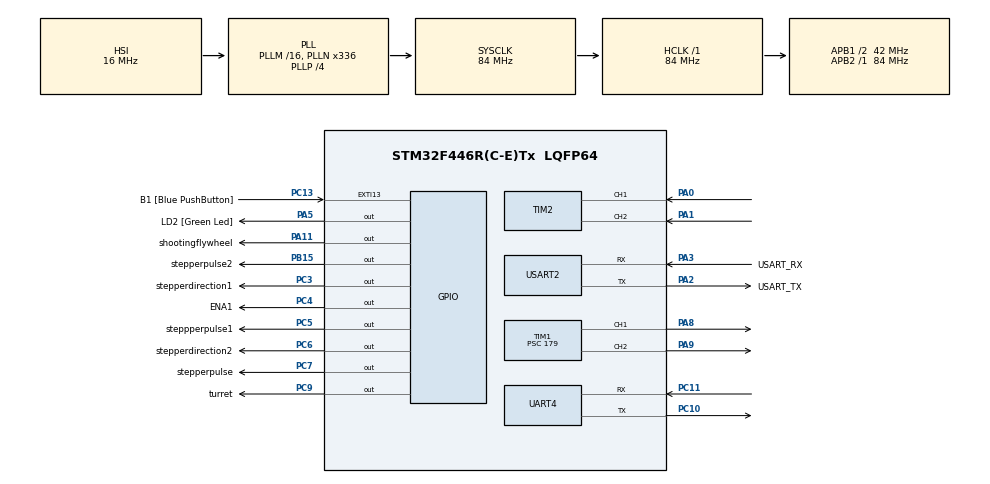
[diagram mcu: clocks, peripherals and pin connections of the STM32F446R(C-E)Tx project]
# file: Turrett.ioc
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Dma.Request0=UART4_RX
Dma.UART4_RX.0.Direction=DMA_PERIPH_TO_MEMORY
Dma.UART4_RX.0.FIFOMode=DMA_FIFOMODE_DISABLE
Dma.UART4_RX.0.Instance=DMA1_Stream2
Dma.UART4_RX.0.MemDataAlignment=DMA_MDATAALIGN_BYTE
Dma.UART4_RX.0.MemInc=DMA_MINC_ENABLE
Dma.UART4_RX.0.Mode=DMA_CIRCULAR
Dma.UART4_RX.0.PeriphDataAlignment=DMA_PDATAALIGN_BYTE
Dma.UART4_RX.0.PeriphInc=DMA_PINC_DISABLE
Dma.UART4_RX.0.Priority=DMA_PRIORITY_LOW
Mcu.Family=STM32F4
Mcu.Name=STM32F446R(C-E)Tx
Mcu.Package=LQFP64
NVIC.DMA1_Stream2_IRQn=true\:0\:0\:false\:false\:true\:false\:true\:true
NVIC.PriorityGroup=NVIC_PRIORITYGROUP_0
NVIC.TIM2_IRQn=true\:0\:0\:false\:false\:true\:true\:true\:true
NVIC.UART4_IRQn=true\:0\:0\:false\:false\:true\:true\:true\:true
PA0-WKUP.GPIO_PuPd=GPIO_PULLUP
PA0-WKUP.Signal=S_TIM2_CH1_ETR
PA1.GPIO_PuPd=GPIO_PULLUP
PA1.Signal=S_TIM2_CH2
PA11.GPIO_Label=shootingflywheel
PA11.Signal=GPIO_Output
PA13.GPIO_Label=TMS
PA13.Mode=Serial_Wire
PA13.Signal=SYS_JTMS-SWDIO
PA14.GPIO_Label=TCK
PA14.Mode=Serial_Wire
PA14.Signal=SYS_JTCK-SWCLK
PA2.GPIO_Label=USART_TX
PA2.Mode=Asynchronous
PA2.Signal=USART2_TX
PA3.GPIO_Label=USART_RX
PA3.Mode=Asynchronous
PA3.Signal=USART2_RX
PA5.GPIO_Label=LD2 [Green Led]
PA5.Signal=GPIO_Output
PA8.Signal=S_TIM1_CH1
PA9.Signal=S_TIM1_CH2
PB15.GPIO_Label=stepperpulse2
PB15.Signal=GPIO_Output
PB3.GPIO_Label=SWO
PB3.Signal=SYS_JTDO-SWO
PC10.Mode=Asynchronous
PC10.Signal=UART4_TX
PC11.Mode=Asynchronous
PC11.Signal=UART4_RX
PC13.GPIO_Label=B1 [Blue PushButton]
PC13.GPIO_ModeDefaultEXTI=GPIO_MODE_IT_FALLING
PC13.Signal=GPXTI13
PC14-OSC32_IN.Mode=LSE-External-Oscillator
PC14-OSC32_IN.Signal=RCC_OSC32_IN
PC15-OSC32_OUT.Mode=LSE-External-Oscillator
PC15-OSC32_OUT.Signal=RCC_OSC32_OUT
PC3.GPIO_Label=stepperdirection1
PC3.Signal=GPIO_Output
PC4.GPIO_Label=ENA1
PC4.Signal=GPIO_Output
PC5.GPIO_Label=steppperpulse1
PC5.Signal=GPIO_Output
PC6.GPIO_Label=stepperdirection2
PC6.Signal=GPIO_Output
PC7.GPIO_Label=stepperpulse
PC7.Signal=GPIO_Output
PC9.GPIO_Label=turret
PC9.Signal=GPIO_Output
PH0-OSC_IN.Mode=HSE-External-Oscillator
PH0-OSC_IN.Signal=RCC_OSC_IN
PH1-OSC_OUT.Mode=HSE-External-Oscillator
PH1-OSC_OUT.Signal=RCC_OSC_OUT
ProjectManager.HeapSize=0x200
ProjectManager.StackSize=0x400
ProjectManager.TargetToolchain=STM32CubeIDE
RCC.48MHZClocksFreq_Value=84000000
RCC.AHBFreq_Value=84000000
RCC.APB1CLKDivider=RCC_HCLK_DIV2
RCC.APB1Freq_Value=42000000
RCC.APB1TimFreq_Value=84000000
RCC.APB2Freq_Value=84000000
RCC.APB2TimFreq_Value=84000000
RCC.CortexFreq_Value=84000000
RCC.FLatency-AdvancedSettings=FLASH_LATENCY_2
RCC.HCLKFreq_Value=84000000
RCC.HSE_VALUE=8000000
RCC.HSI_VALUE=16000000
RCC.PLLN=336
RCC.PLLP=RCC_PLLP_DIV4
RCC.SYSCLKFreq_VALUE=84000000
RCC.SYSCLKSource=RCC_SYSCLKSOURCE_PLLCLK
RCC.USBFreq_Value=168000000
RCC.VCOOutputFreq_Value=336000000
SH.S_TIM1_CH1.0=TIM1_CH1,PWM Generation1 CH1
SH.S_TIM1_CH2.0=TIM1_CH2,PWM Generation2 CH2
SH.S_TIM2_CH1_ETR.0=TIM2_CH1,Encoder_Interface
SH.S_TIM2_CH2.0=TIM2_CH2,Encoder_Interface
TIM1.Channel-PWM\ Generation1\ CH1=TIM_CHANNEL_1
TIM1.Channel-PWM\ Generation2\ CH2=TIM_CHANNEL_2
TIM1.Period=999
TIM1.Prescaler=179
TIM2.EncoderMode=TIM_ENCODERMODE_TI12
TIM2.IC1Filter=5
TIM2.IC2Filter=5
UART4.VirtualMode=Asynchronous
USART2.VirtualMode=VM_ASYNC
VP_TIM1_VS_ClockSourceINT.Mode=Internal
board=NUCLEO-F446RE

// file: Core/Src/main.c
/* USER CODE BEGIN Header */
/**
  ******************************************************************************
  * @file           : main.c
  * @brief          : Main program body
  ******************************************************************************
  * @attention
  *
  * Copyright (c) 2025 STMicroelectronics.
  * All rights reserved.
  *
  * This software is licensed under terms that can be found in the LICENSE file
  * in the root directory of this software component.
  * If no LICENSE file comes with this software, it is provided AS-IS.
  *
  ******************************************************************************
  */
/* USER CODE END Header */
#include "main.h"

/* USER CODE BEGIN Includes */
#define sign(x) ((x) < 0 ? -1 : ((x) > 0 ? 1 : 0))
#define STEPS 240
#include "stdio.h"
#include<stdio.h>
#include<inttypes.h>
#include<Math.h>
#include <stdbool.h>
#include <stdlib.h>
/* USER CODE END Includes */

/* USER CODE BEGIN PTD */
int16_t signed_counter = 0;
int setpoint = 0;
int fast = 900;
int error,lasterr;
int32_t lx, ly, rx, ry, cro, squ, tri, cir, up, down, left, right, ll1, rr1,
		ll2, rr2, rL, rR;
int deadzone = 50;
//float cos30 = (sqrt(3)/2);
double kp,kd,c,kt,k,ki;
float last_encoder = 0.0f;
float output;
const int encoderPPR = 600*6;
static uint32_t last_step_time = 0;
static uint32_t last_step_time1 = 0;
static int step_state = 0;
static int step_state1 = 0;
float errsum;
static int direction1 = 1;
int step_delay = 1;
int step_delay1 = 1;
static int stepper_running = 0;  // Toggle flag
static int stepper_running1 = 0;  // Toggle flag
int Buff2 = -50;
long map(long x, long in_min, long in_max, long out_min, long out_max) {

	return (x - in_min) * (out_max - out_min) / (in_max - in_min) + out_min;

}
static int prev_ll1 = 0;
static int prev_rr1 = 0;
uint32_t target_steps = 0;
uint32_t current_steps = 0;
uint32_t target_steps1 = 0;
uint32_t current_steps1 = 0;
/* USER CODE END PTD */

TIM_HandleTypeDef htim1;
TIM_HandleTypeDef htim2;

UART_HandleTypeDef huart4;
UART_HandleTypeDef huart2;
DMA_HandleTypeDef hdma_uart4_rx;

/* USER CODE BEGIN PV */
unsigned long now,lastTime;
/* USER CODE END PV */

void SystemClock_Config(void);
static void MX_GPIO_Init(void);
static void MX_DMA_Init(void);
static void MX_USART2_UART_Init(void);
static void MX_TIM1_Init(void);
static void MX_TIM2_Init(void);
static void MX_UART4_Init(void);

/* USER CODE BEGIN 0 */
uint8_t rxbuff[16];
void HAL_UART_RxCpltCallback(UART_HandleTypeDef *huart) {
	HAL_UART_Receive_DMA(&huart4, rxbuff, 16);
}
//void compute() {
//    unsigned long now = HAL_GetTick();
//    float T = (now - lastTime) / 1000.0f; // Convert ms to seconds
//
//    // Current states
//    float p = counter;          // Actual position
//    float pd = setpoint;         // Desired position
//    float v = (p - last_p) / T; // Actual velocity
//    float vd = (pd - last_pd) / T; // Desired velocity
//
//    // Compute u*(k) (Equation 28a)
//    float u_star = (pd - p + H*vd + T*v - grad_a_prev/T) / (H + T);
//
//    // Velocity saturation (Equation 28b)
//    float u = V * fmaxf(fminf(u_star/V, 1.0f), -1.0f);
//
//    // Compute f*(k) (Equation 28c)
//    float f_star = L*a_prev + (L*T + K)*grad_a_prev/T
//                 + (L*T*T + K*T + B)*(u - v);
//
//    // Force saturation (Equation 28d)
//    float f = F * fmaxf(fminf(f_star/F, 1.0f), -1.0f);
//
//    // Update proxy state (Equation 28e)
//    float a = ((K*T + B)*a_prev + B*grad_a_prev + T*T*f)
//            / (L*T*T + K*T + B);
//
//    // Compute output force (Equation 31b)
//    output = L*a + K*(a - a_prev)/T + B*(a - 2*a_prev + grad2_a_prev)/(T*T);
//
//    // Constrain final output
//    output = fmaxf(fminf(output, 400.0f), -400.0f);
//
//    // Update states for next iteration
//    grad2_a_prev = grad_a_prev;
//    grad_a_prev = a - a_prev;
//    a_prev = a;
//    last_p = p;
//    last_pd = pd;
//    lastTime = now;
//}
//
//void SetTunings(float force_limit, float velocity_limit,
//               float time_constant, float Kp, float Kd, float Ki) {
//    F = force_limit;
//    V = velocity_limit;
//    H = time_constant;
//    K = Kp;
//    B = Kd;
//    L = Ki;
//}
int constrain(int value, int min_val, int max_val) {
	if (value < min_val)
		return min_val;
	if (value > max_val)
		return max_val;
	return value;
}
void compute()
{
	unsigned long now = HAL_GetTick();
	double timeChange = (double)(now-lastTime);
	error = setpoint - signed_counter;
	double derr = (error-lasterr)/timeChange;
	errsum+=error;
	float s = c * error+ derr;
	output = kp *error+ kd*derr + kt* (k * sign(s));
	output = constrain(output,-500,500);
	output = abs(output);
	lasterr=error;
	lastTime = now;
//	printf("error = %d \n\r",error);

}
void SetTunings(double Kp,double Ki,double Kd,double Kt,double K)
{
  kp=Kp;
  ki=Ki;
  kd=Kd;
  kt=Kt;
  k=K;
}
/* USER CODE END 0 */

int main(void)
{

  /* MCU Configuration--------------------------------------------------------*/

  /* Reset of all peripherals, Initializes the Flash interface and the Systick. */
  HAL_Init();

  /* Configure the system clock */
  SystemClock_Config();

  /* Initialize all configured peripherals */
  MX_GPIO_Init();
  MX_DMA_Init();
  MX_USART2_UART_Init();
  MX_TIM1_Init();
  MX_TIM2_Init();
  MX_UART4_Init();
  /* USER CODE BEGIN 2 */
  HAL_UART_Receive_DMA(&huart4, rxbuff, 16);
  HAL_TIM_Encoder_Start(&htim2, TIM_CHANNEL_ALL);
  /* USER CODE END 2 */

  /* Infinite loop */
  while (1)
  {

    /* USER CODE BEGIN 3 */
	  /* ps5 controller */
	  		lx = (rxbuff[0] & 0x80) ?
	  				(int32_t) rxbuff[0] - 256 : (int32_t) rxbuff[0];
	  		ly = (rxbuff[1] & 0x80) ?
	  				(int32_t) rxbuff[1] - 256 : (int32_t) rxbuff[1];
	  		rx = (rxbuff[2] & 0x80) ?
	  				(int32_t) rxbuff[2] - 256 : (int32_t) rxbuff[2];
	  		ry = (rxbuff[3] & 0x80) ?
	  				(int32_t) rxbuff[3] - 256 : (int32_t) rxbuff[3];
	  		cro = (rxbuff[4] & 0x80) ?
	  				(int32_t) rxbuff[4] - 256 : (int32_t) rxbuff[4];
	  		squ = (rxbuff[5] & 0x80) ?
	  				(int32_t) rxbuff[5] - 256 : (int32_t) rxbuff[5];
	  		tri = (rxbuff[6] & 0x80) ?
	  				(int32_t) rxbuff[6] - 256 : (int32_t) rxbuff[6];
	  		cir = (rxbuff[7] & 0x80) ?
	  				(int32_t) rxbuff[7] - 256 : (int32_t) rxbuff[7];
	  		up = (rxbuff[8] & 0x80) ?
	  				(int32_t) rxbuff[8] - 256 : (int32_t) rxbuff[8];
	  		down = (rxbuff[9] & 0x80) ?
	  				(int32_t) rxbuff[9] - 256 : (int32_t) rxbuff[9];
	  		left = (rxbuff[10] & 0x80) ?
	  				(int32_t) rxbuff[10] - 256 : (int32_t) rxbuff[10];
	  		right = (rxbuff[11] & 0x80) ?
	  				(int32_t) rxbuff[11] - 256 : (int32_t) rxbuff[11];
	  		ll1 = (rxbuff[12] & 0x80) ?
	  				(int32_t) rxbuff[12] - 256 : (int32_t) rxbuff[12];
	  		ll2 = (rxbuff[13] & 0x80) ?
	  				(int32_t) rxbuff[13] - 256 : (int32_t) rxbuff[13];
	  		rr1 = (rxbuff[14] & 0x80) ?
	  				(int32_t) rxbuff[14] - 256 : (int32_t) rxbuff[14];
	  		rr2 = (rxbuff[15] & 0x80) ?
	  				(int32_t) rxbuff[15] - 256 : (int32_t) rxbuff[15];

	  				printf("Received Integers: %ld %ld %ld %ld %ld %ld %ld %ld %ld %ld %ld %ld\r\n",
	  						lx, ly, rx, ry, cro, squ, tri, cir, ll1, rr1,ll2,rr2);
//	  		printf("Received Integers: %ld %ld %ld %ld %ld %ld %ld %ld\r\n", lx, ly,
//	  				rx, ry, cro, squ, tri, cir);
	  uint16_t raw_counter = __HAL_TIM_GET_COUNTER(&htim2);

	 	  		// Convert to signed values
	 	  signed_counter =(raw_counter < 32768) ?	(int16_t) raw_counter :(int16_t) (raw_counter - 65536);
	 	 SetTunings(0.5,0.5, 0, 10.0, -0.005);  // Initial tuning for 50kg·cm motor
	 	 c = 1.5;  // Sliding surface parameter
	 	 if(left==1)
	 		 setpoint+=100;
	 	 else if(right==1)
	 		 setpoint-=100;
	 	  compute();
//	 	  +
	 	  if(signed_counter<setpoint)
	 	  {
	 		 HAL_GPIO_WritePin(GPIOC, GPIO_PIN_9, GPIO_PIN_SET);
	 		TIM1->CCR1 = output;
	 		HAL_TIM_PWM_Start(&htim1, TIM_CHANNEL_1);
	 	     }

	 	   else if(signed_counter>setpoint)
	 	   {
		 		HAL_GPIO_WritePin(GPIOC, GPIO_PIN_9, GPIO_PIN_RESET);
		 		TIM1->CCR1 = output;
		 		HAL_TIM_PWM_Start(&htim1, TIM_CHANNEL_1);
	 	   }
	 	   else
	 	   {
		 		TIM1->CCR1 = 0;
		 		HAL_TIM_PWM_Start(&htim1, TIM_CHANNEL_1);
	 	   }
	 	  printf("Counts = %ld \r\n",signed_counter);
			HAL_GPIO_WritePin(GPIOC, GPIO_PIN_3,
					direction1 ? GPIO_PIN_SET : GPIO_PIN_RESET);
			HAL_GPIO_WritePin(GPIOC, GPIO_PIN_6,
					!direction1 ? GPIO_PIN_SET : GPIO_PIN_RESET);

			if (ll1 == 1 && !prev_ll1) {  // LL1 button pressed
				direction1 = 1;  // Set to Anti-clockwise
				stepper_running = 1;
				stepper_running1 = 1;
				target_steps = STEPS;
				target_steps1 = STEPS;
				HAL_GPIO_WritePin(GPIOC, GPIO_PIN_7, GPIO_PIN_RESET);
			}
			if (rr1 == 1 && !prev_rr1) {  // RR1 button pressed
				direction1 = 0;  // Set to Clockwise
				stepper_running = 1;
				stepper_running1 = 1;
				target_steps = STEPS;
				target_steps1 = STEPS;
				HAL_GPIO_WritePin(GPIOC, GPIO_PIN_7, GPIO_PIN_RESET);
			}
			if (cir == 1 && !prev_cir) {
				stepper_running1 = 0;
				current_steps = 0;
				current_steps1 = 0;
				HAL_GPIO_WritePin(GPIOC, GPIO_PIN_7, GPIO_PIN_SET);
			}
			prev_ll1 = ll1;
			prev_rr1 = rr1;
			prev_cir = cir;
			if (stepper_running && (HAL_GetTick() - last_step_time) >= step_delay
					&& current_steps < target_steps) {
				last_step_time = HAL_GetTick(); // Update last step time

				if (step_state == 0) {
					HAL_GPIO_WritePin(GPIOC, GPIO_PIN_5, GPIO_PIN_SET); // Step HIGH
					step_state = 1;
					current_steps++;
				} else {
					HAL_GPIO_WritePin(GPIOC, GPIO_PIN_5, GPIO_PIN_RESET); // Step LOW
					step_state = 0;
				}
			}
			if (stepper_running1 && (HAL_GetTick() - last_step_time1) >= step_delay1
					&& current_steps1 < target_steps1) {
				last_step_time1 = HAL_GetTick(); // Update last step time

				if (step_state1 == 0) {
					HAL_GPIO_WritePin(GPIOB, GPIO_PIN_15, GPIO_PIN_SET); // Step HIGH
					step_state1 = 1;
					current_steps1++;
				} else {
					HAL_GPIO_WritePin(GPIOB, GPIO_PIN_15, GPIO_PIN_RESET); // Step LOW
					step_state1 = 0;
				}
			}
			// Stop when target steps are reached
			if (current_steps >= target_steps) {
				stepper_running = 0;
				current_steps = 0;
				HAL_GPIO_WritePin(GPIOC, GPIO_PIN_7, GPIO_PIN_SET);
			}
			if (current_steps1 >= target_steps1) {
				stepper_running1 = 0;
				current_steps1 = 0;
				HAL_GPIO_WritePin(GPIOC, GPIO_PIN_7, GPIO_PIN_SET);
			}
			TIM1->CCR2 = 900;
			HAL_TIM_PWM_Start(&htim1, TIM_CHANNEL_2);

  }
  /* USER CODE END 3 */
}

void SystemClock_Config(void)
{
  RCC_OscInitTypeDef RCC_OscInitStruct = {0};
  RCC_ClkInitTypeDef RCC_ClkInitStruct = {0};

  /** Configure the main internal regulator output voltage
  */
  __HAL_RCC_PWR_CLK_ENABLE();
  __HAL_PWR_VOLTAGESCALING_CONFIG(PWR_REGULATOR_VOLTAGE_SCALE3);

  /** Initializes the RCC Oscillators according to the specified parameters
  * in the RCC_OscInitTypeDef structure.
  */
  RCC_OscInitStruct.OscillatorType = RCC_OSCILLATORTYPE_HSI;
  RCC_OscInitStruct.HSIState = RCC_HSI_ON;
  RCC_OscInitStruct.HSICalibrationValue = RCC_HSICALIBRATION_DEFAULT;
  RCC_OscInitStruct.PLL.PLLState = RCC_PLL_ON;
  RCC_OscInitStruct.PLL.PLLSource = RCC_PLLSOURCE_HSI;
  RCC_OscInitStruct.PLL.PLLM = 16;
  RCC_OscInitStruct.PLL.PLLN = 336;
  RCC_OscInitStruct.PLL.PLLP = RCC_PLLP_DIV4;
  RCC_OscInitStruct.PLL.PLLQ = 2;
  RCC_OscInitStruct.PLL.PLLR = 2;
  if (HAL_RCC_OscConfig(&RCC_OscInitStruct) != HAL_OK)
  {
    Error_Handler();
  }

  /** Initializes the CPU, AHB and APB buses clocks
  */
  RCC_ClkInitStruct.ClockType = RCC_CLOCKTYPE_HCLK|RCC_CLOCKTYPE_SYSCLK
                              |RCC_CLOCKTYPE_PCLK1|RCC_CLOCKTYPE_PCLK2;
  RCC_ClkInitStruct.SYSCLKSource = RCC_SYSCLKSOURCE_PLLCLK;
  RCC_ClkInitStruct.AHBCLKDivider = RCC_SYSCLK_DIV1;
  RCC_ClkInitStruct.APB1CLKDivider = RCC_HCLK_DIV2;
  RCC_ClkInitStruct.APB2CLKDivider = RCC_HCLK_DIV1;

  if (HAL_RCC_ClockConfig(&RCC_ClkInitStruct, FLASH_LATENCY_2) != HAL_OK)
  {
    Error_Handler();
  }
}

static void MX_TIM1_Init(void)
{

  TIM_ClockConfigTypeDef sClockSourceConfig = {0};
  TIM_MasterConfigTypeDef sMasterConfig = {0};
  TIM_OC_InitTypeDef sConfigOC = {0};
  TIM_BreakDeadTimeConfigTypeDef sBreakDeadTimeConfig = {0};

  htim1.Instance = TIM1;
  htim1.Init.Prescaler = 179;
  htim1.Init.CounterMode = TIM_COUNTERMODE_UP;
  htim1.Init.Period = 999;
  htim1.Init.ClockDivision = TIM_CLOCKDIVISION_DIV1;
  htim1.Init.RepetitionCounter = 0;
  htim1.Init.AutoReloadPreload = TIM_AUTORELOAD_PRELOAD_DISABLE;
  if (HAL_TIM_Base_Init(&htim1) != HAL_OK)
  {
    Error_Handler();
  }
  sClockSourceConfig.ClockSource = TIM_CLOCKSOURCE_INTERNAL;
  if (HAL_TIM_ConfigClockSource(&htim1, &sClockSourceConfig) != HAL_OK)
  {
    Error_Handler();
  }
  if (HAL_TIM_PWM_Init(&htim1) != HAL_OK)
  {
    Error_Handler();
  }
  sMasterConfig.MasterOutputTrigger = TIM_TRGO_RESET;
  sMasterConfig.MasterSlaveMode = TIM_MASTERSLAVEMODE_DISABLE;
  if (HAL_TIMEx_MasterConfigSynchronization(&htim1, &sMasterConfig) != HAL_OK)
  {
    Error_Handler();
  }
  sConfigOC.OCMode = TIM_OCMODE_PWM1;
  sConfigOC.Pulse = 0;
  sConfigOC.OCPolarity = TIM_OCPOLARITY_HIGH;
  sConfigOC.OCNPolarity = TIM_OCNPOLARITY_HIGH;
  sConfigOC.OCFastMode = TIM_OCFAST_DISABLE;
  sConfigOC.OCIdleState = TIM_OCIDLESTATE_RESET;
  sConfigOC.OCNIdleState = TIM_OCNIDLESTATE_RESET;
  if (HAL_TIM_PWM_ConfigChannel(&htim1, &sConfigOC, TIM_CHANNEL_1) != HAL_OK)
  {
    Error_Handler();
  }
  if (HAL_TIM_PWM_ConfigChannel(&htim1, &sConfigOC, TIM_CHANNEL_2) != HAL_OK)
  {
    Error_Handler();
  }
  sBreakDeadTimeConfig.OffStateRunMode = TIM_OSSR_DISABLE;
  sBreakDeadTimeConfig.OffStateIDLEMode = TIM_OSSI_DISABLE;
  sBreakDeadTimeConfig.LockLevel = TIM_LOCKLEVEL_OFF;
  sBreakDeadTimeConfig.DeadTime = 0;
  sBreakDeadTimeConfig.BreakState = TIM_BREAK_DISABLE;
  sBreakDeadTimeConfig.BreakPolarity = TIM_BREAKPOLARITY_HIGH;
  sBreakDeadTimeConfig.AutomaticOutput = TIM_AUTOMATICOUTPUT_DISABLE;
  if (HAL_TIMEx_ConfigBreakDeadTime(&htim1, &sBreakDeadTimeConfig) != HAL_OK)
  {
    Error_Handler();
  }
  HAL_TIM_MspPostInit(&htim1);

}

static void MX_TIM2_Init(void)
{

  TIM_Encoder_InitTypeDef sConfig = {0};
  TIM_MasterConfigTypeDef sMasterConfig = {0};

  htim2.Instance = TIM2;
  htim2.Init.Prescaler = 0;
  htim2.Init.CounterMode = TIM_COUNTERMODE_UP;
  htim2.Init.Period = 4294967295;
  htim2.Init.ClockDivision = TIM_CLOCKDIVISION_DIV1;
  htim2.Init.AutoReloadPreload = TIM_AUTORELOAD_PRELOAD_DISABLE;
  sConfig.EncoderMode = TIM_ENCODERMODE_TI12;
  sConfig.IC1Polarity = TIM_ICPOLARITY_RISING;
  sConfig.IC1Selection = TIM_ICSELECTION_DIRECTTI;
  sConfig.IC1Prescaler = TIM_ICPSC_DIV1;
  sConfig.IC1Filter = 5;
  sConfig.IC2Polarity = TIM_ICPOLARITY_RISING;
  sConfig.IC2Selection = TIM_ICSELECTION_DIRECTTI;
  sConfig.IC2Prescaler = TIM_ICPSC_DIV1;
  sConfig.IC2Filter = 5;
  if (HAL_TIM_Encoder_Init(&htim2, &sConfig) != HAL_OK)
  {
    Error_Handler();
  }
  sMasterConfig.MasterOutputTrigger = TIM_TRGO_RESET;
  sMasterConfig.MasterSlaveMode = TIM_MASTERSLAVEMODE_DISABLE;
  if (HAL_TIMEx_MasterConfigSynchronization(&htim2, &sMasterConfig) != HAL_OK)
  {
    Error_Handler();
  }

}

static void MX_UART4_Init(void)
{

  huart4.Instance = UART4;
  huart4.Init.BaudRate = 115200;
  huart4.Init.WordLength = UART_WORDLENGTH_8B;
  huart4.Init.StopBits = UART_STOPBITS_1;
  huart4.Init.Parity = UART_PARITY_NONE;
  huart4.Init.Mode = UART_MODE_TX_RX;
  huart4.Init.HwFlowCtl = UART_HWCONTROL_NONE;
  huart4.Init.OverSampling = UART_OVERSAMPLING_16;
  if (HAL_UART_Init(&huart4) != HAL_OK)
  {
    Error_Handler();
  }

}

static void MX_USART2_UART_Init(void)
{

  huart2.Instance = USART2;
  huart2.Init.BaudRate = 115200;
  huart2.Init.WordLength = UART_WORDLENGTH_8B;
  huart2.Init.StopBits = UART_STOPBITS_1;
  huart2.Init.Parity = UART_PARITY_NONE;
  huart2.Init.Mode = UART_MODE_TX_RX;
  huart2.Init.HwFlowCtl = UART_HWCONTROL_NONE;
  huart2.Init.OverSampling = UART_OVERSAMPLING_16;
  if (HAL_UART_Init(&huart2) != HAL_OK)
  {
    Error_Handler();
  }

}

static void MX_DMA_Init(void)
{

  /* DMA controller clock enable */
  __HAL_RCC_DMA1_CLK_ENABLE();

  /* DMA interrupt init */
  /* DMA1_Stream2_IRQn interrupt configuration */
  HAL_NVIC_SetPriority(DMA1_Stream2_IRQn, 0, 0);
  HAL_NVIC_EnableIRQ(DMA1_Stream2_IRQn);

}

static void MX_GPIO_Init(void)
{
  GPIO_InitTypeDef GPIO_InitStruct = {0};

  /* GPIO Ports Clock Enable */
  __HAL_RCC_GPIOC_CLK_ENABLE();
  __HAL_RCC_GPIOH_CLK_ENABLE();
  __HAL_RCC_GPIOA_CLK_ENABLE();
  __HAL_RCC_GPIOB_CLK_ENABLE();

  /*Configure GPIO pin Output Level */
  HAL_GPIO_WritePin(GPIOC, stepperdirection1_Pin|ENA1_Pin|steppperpulse1_Pin|stepperdirection2_Pin
                          |stepperpulse_Pin|turret_Pin, GPIO_PIN_RESET);

  /*Configure GPIO pin Output Level */
  HAL_GPIO_WritePin(GPIOA, LD2_Pin|shootingflywheel_Pin, GPIO_PIN_RESET);

  /*Configure GPIO pin Output Level */
  HAL_GPIO_WritePin(stepperpulse2_GPIO_Port, stepperpulse2_Pin, GPIO_PIN_RESET);

  /*Configure GPIO pin : B1_Pin */
  GPIO_InitStruct.Pin = B1_Pin;
  GPIO_InitStruct.Mode = GPIO_MODE_IT_FALLING;
  GPIO_InitStruct.Pull = GPIO_NOPULL;
  HAL_GPIO_Init(B1_GPIO_Port, &GPIO_InitStruct);

  /*Configure GPIO pins : stepperdirection1_Pin ENA1_Pin steppperpulse1_Pin stepperdirection2_Pin
                           stepperpulse_Pin turret_Pin */
  GPIO_InitStruct.Pin = stepperdirection1_Pin|ENA1_Pin|steppperpulse1_Pin|stepperdirection2_Pin
                          |stepperpulse_Pin|turret_Pin;
  GPIO_InitStruct.Mode = GPIO_MODE_OUTPUT_PP;
  GPIO_InitStruct.Pull = GPIO_NOPULL;
  GPIO_InitStruct.Speed = GPIO_SPEED_FREQ_LOW;
  HAL_GPIO_Init(GPIOC, &GPIO_InitStruct);

  /*Configure GPIO pins : LD2_Pin shootingflywheel_Pin */
  GPIO_InitStruct.Pin = LD2_Pin|shootingflywheel_Pin;
  GPIO_InitStruct.Mode = GPIO_MODE_OUTPUT_PP;
  GPIO_InitStruct.Pull = GPIO_NOPULL;
  GPIO_InitStruct.Speed = GPIO_SPEED_FREQ_LOW;
  HAL_GPIO_Init(GPIOA, &GPIO_InitStruct);

  /*Configure GPIO pin : stepperpulse2_Pin */
  GPIO_InitStruct.Pin = stepperpulse2_Pin;
  GPIO_InitStruct.Mode = GPIO_MODE_OUTPUT_PP;
  GPIO_InitStruct.Pull = GPIO_NOPULL;
  GPIO_InitStruct.Speed = GPIO_SPEED_FREQ_LOW;
  HAL_GPIO_Init(stepperpulse2_GPIO_Port, &GPIO_InitStruct);

}

/* USER CODE BEGIN 4 */
int _write(int file, char *ptr, int len) {
	HAL_UART_Transmit(&huart2, (uint8_t*) ptr, len, HAL_MAX_DELAY);
	return len;
}
/* USER CODE END 4 */

void Error_Handler(void)
{
  __disable_irq();
  while (1)
  {
  }
}
